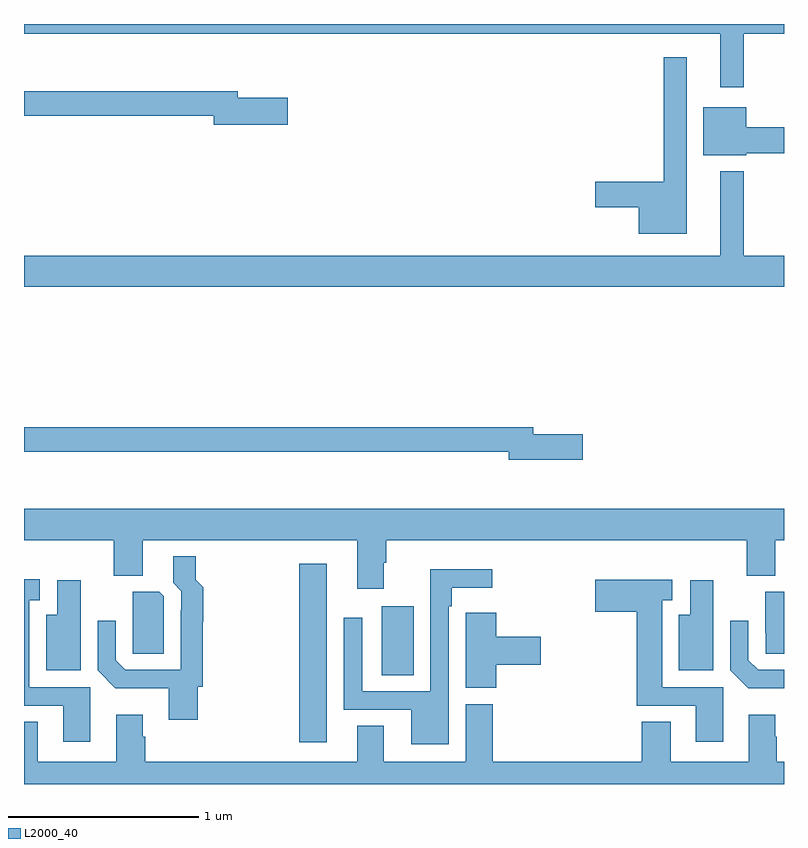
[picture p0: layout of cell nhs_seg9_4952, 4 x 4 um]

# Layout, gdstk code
import gdstk
lib = gdstk.Library(unit=1e-6, precision=1e-09)
def R(c, l, rs):  # rectangles x0, y0, x1, y1
    for r in rs: c.add(gdstk.rectangle(r[:2], r[2:], *l))
def P(c, l, *ps):  # polygons
    for p in ps: c.add(gdstk.Polygon(p, *l))
L2000_40 = (2000, 40)

nhs_seg9_4952 = lib.new_cell('nhs_seg9_4952')
R(nhs_seg9_4952, L2000_40, [(400.448,1164.72,400.594,1165.66), (400.883,1165.072,401.05,1165.435)])
P(nhs_seg9_4952, L2000_40, [(402.787,1168.448),(403,1168.448),(403,1168.5),(399,1168.5),(399,1168.448),(402.665,1168.448),(402.665,1168.167),(402.787,1168.167)],
  [(402.487,1168.324),(402.366,1168.324),(402.366,1167.671),(402.006,1167.671),(402.006,1167.536),(402.236,1167.536),(402.236,1167.395),(402.487,1167.395)],
  [(400.387,1168.113),(400.126,1168.113),(400.126,1168.147),(399,1168.147),(399,1168.018),(399.998,1168.018),(399.998,1167.971),(400.387,1167.971)],
  [(402.802,1167.82),(403,1167.82),(403,1167.956),(402.802,1167.956),(402.802,1168.063),(402.575,1168.063),(402.575,1167.809),(402.802,1167.809)],
  [(403,1167.28),(402.787,1167.28),(402.787,1167.724),(402.665,1167.724),(402.665,1167.28),(399,1167.28),(399,1167.116),(403,1167.116)],
  [(401.941,1166.342),(401.68,1166.342),(401.68,1166.378),(399,1166.378),(399,1166.25),(401.552,1166.25),(401.552,1166.207),(401.941,1166.207)],
  [(400.894,1165.664),(400.907,1165.664),(400.907,1165.784),(402.803,1165.784),(402.803,1165.597),(402.955,1165.597),(402.955,1165.784),(403,1165.784),(403,1165.948),(399,1165.948),(399,1165.784),(399.473,1165.784),(399.473,1165.597),(399.625,1165.597),(399.625,1165.784),(400.754,1165.784),(400.754,1165.527),(400.894,1165.527)],
  [(399.914,1165.011),(399.941,1165.011),(399.941,1165.354),(399.944,1165.354),(399.944,1165.536),(399.905,1165.575),(399.905,1165.699),(399.785,1165.699),(399.785,1165.558),(399.828,1165.515),(399.828,1165.415),(399.825,1165.415),(399.825,1165.101),(399.534,1165.101),(399.483,1165.152),(399.483,1165.36),(399.387,1165.36),(399.387,1165.098),(399.481,1165.004),(399.761,1165.004),(399.761,1164.837),(399.914,1164.837)],
  [(401.235,1165.436),(401.251,1165.436),(401.251,1165.532),(401.464,1165.532),(401.464,1165.63),(401.139,1165.63),(401.139,1164.987),(400.779,1164.987),(400.779,1165.375),(400.683,1165.375),(400.683,1164.891),(401.039,1164.891),(401.039,1164.71),(401.235,1164.71)],
  [(399.349,1165.008),(399.028,1165.008),(399.028,1165.467),(399.082,1165.467),(399.082,1165.577),(399,1165.577),(399,1164.912),(399.206,1164.912),(399.206,1164.723),(399.349,1164.723)],
  [(402.679,1165.008),(402.358,1165.008),(402.358,1165.467),(402.412,1165.467),(402.412,1165.575),(402.006,1165.575),(402.006,1165.406),(402.224,1165.406),(402.224,1164.912),(402.536,1164.912),(402.536,1164.723),(402.679,1164.723)],
  [(402.628,1165.573),(402.506,1165.573),(402.506,1165.39),(402.446,1165.39),(402.446,1165.1),(402.628,1165.1)],
  [(399.298,1165.573),(399.176,1165.573),(399.176,1165.39),(399.116,1165.39),(399.116,1165.1),(399.298,1165.1)],
  [(403,1165.512),(402.902,1165.512),(402.902,1165.297),(402.903,1165.297),(402.903,1165.186),(403,1165.186)],
  [(399.735,1165.488),(399.711,1165.512),(399.572,1165.512),(399.572,1165.297),(399.573,1165.297),(399.573,1165.186),(399.735,1165.186)],
  [(401.486,1165.127),(401.719,1165.127),(401.719,1165.274),(401.486,1165.274),(401.486,1165.402),(401.325,1165.402),(401.325,1165.289),(401.324,1165.289),(401.324,1165.006),(401.486,1165.006)],
  [(403,1165.101),(402.864,1165.101),(402.813,1165.152),(402.813,1165.36),(402.717,1165.36),(402.717,1165.098),(402.811,1165.004),(403,1165.004)],
  [(403,1164.616),(402.963,1164.616),(402.963,1164.749),(402.955,1164.749),(402.955,1164.865),(402.815,1164.865),(402.815,1164.616),(402.403,1164.616),(402.403,1164.827),(402.251,1164.827),(402.251,1164.616),(401.468,1164.616),(401.468,1164.921),(401.324,1164.921),(401.324,1164.616),(400.894,1164.616),(400.894,1164.806),(400.754,1164.806),(400.754,1164.616),(399.638,1164.616),(399.638,1164.749),(399.625,1164.749),(399.625,1164.865),(399.485,1164.865),(399.485,1164.616),(399.073,1164.616),(399.073,1164.827),(399,1164.827),(399,1164.5),(403,1164.5)])

lib.write_gds('nhs_seg9_4952.gds')
